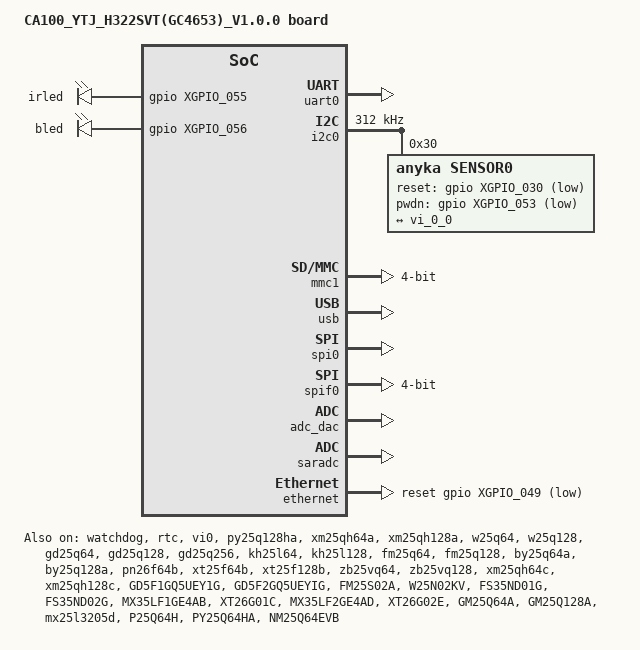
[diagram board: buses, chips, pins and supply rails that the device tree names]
/*
 * Anycloud3918av100 dev board dts
 *
 * Copyright (C) 2020 Anyka(Guangzhou) Microelectronics Technology Co., Ltd.
 *
 * This program is free software; you can redistribute it and/or modify
 * it under the terms of the GNU General Public License as published by
 * the Free Software Foundation; either version 2 of the License, or
 * (at your option) any later version.
 *
 * This program is distributed in the hope that it will be useful,
 * but WITHOUT ANY WARRANTY; without even the implied warranty of
 * MERCHANTABILITY or FITNESS FOR A PARTICULAR PURPOSE.  See the
 * GNU General Public License for more details.
 */

/dts-v1/;
#include "anycloud_ak3918av100np.dtsi"
#include "anycloud_norflash.dtsi"
#include "anycloud_nandflash.dtsi"

/ {
    compatible = "anyka,ak3918av100";
    model = "CA100_YTJ_H322SVT(GC4653)_V1.0.0 board";
    version = "V1.0.00";
};

&gpio {
    /*
    * "anyka,function": func index, please refer to dt-bindings/pinctrl/ak3918av100_pinctrl.h
    * "anyka,pull": configuration of the pins
    * bit[7:0]: pull up/down configuration
    *     bit[0]: pull up or pull down selection, 1 means select pull down, 0 means select pull up
    *     bit[4]: pull up or pull down enable, 1 means enable pull up&down function, 0 means disable fuction
    * !!! Notice that not all pin support pull up and pull down. Please refer to the programer's guide.
    * bit[11:8]: driver strength configuration.
    *     bit[9:8] drive strength.
    * bit[12:15] gpio direction
    *     bit[12]: direction. 0 is output, 1 is input
    *     bit[15]: enable direction. 1 is enable
    * bit[19:16]: input enable configuration
    *     bit[16]: 1 means enable input, 0 means disable input.
    * bit[20-23]: gpio output level
    *     bit[20]: 0 is low level, 1 is high level
    *     bit[23]: enable gpio output level. 1 is enable
    * bit[31:24]: pin slew rate configuration
    *     bit[24]: 1 means enable slew rate, 0 means disable slew rate.
    * !!! Notice OTHER bits which not mentioned please set to 0.
    */

    dvp0_12bits_pins: dvp0_12bits_pins {
        anyka,pins = <XGPIO_022
                         XGPIO_100
                         XGPIO_009
                         XGPIO_010
                         XGPIO_075
                         XGPIO_073
                         XGPIO_074
                         XGPIO_020
                         XGPIO_072
                         XGPIO_079
                         XGPIO_078
                         XGPIO_099
                         XGPIO_102
                         XGPIO_101
                         XGPIO_103
                         XGPIO_104>;
        anyka,function = <XGPIO_022_FUNC_CSI0_SCLK
                            XGPIO_100_FUNC_CSI_CLK
                            XGPIO_009_FUNC_CSI_HSYNC
                            XGPIO_010_FUNC_CSI_VSYNC
                            XGPIO_075_FUNC_CSI_D0
                            XGPIO_073_FUNC_CSI_D1
                            XGPIO_074_FUNC_CSI_D2
                            XGPIO_020_FUNC_CSI_D3
                            XGPIO_072_FUNC_CSI_D4
                            XGPIO_079_FUNC_CSI_D5
                            XGPIO_078_FUNC_CSI_D6
                            XGPIO_099_FUNC_CSI_D7
                            XGPIO_102_FUNC_CSI_D8
                            XGPIO_101_FUNC_CSI_D9
                            XGPIO_103_FUNC_CSI_D10
                            XGPIO_104_FUNC_CSI_D11>;
        anyka,pull = <0x01010010>;
    };

    dvp0_10bits_pins: dvp0_10bits_pins {
        anyka,pins = <XGPIO_100		//pclk
                         XGPIO_009	//hsync
                         XGPIO_010	//vsync
                         XGPIO_074	//d2
                         XGPIO_020	//d3
                         XGPIO_072	//d4
                         XGPIO_079	//d5
                         XGPIO_078	//d6
                         XGPIO_099	//d7
                         XGPIO_102	//d8
                         XGPIO_101	//d9
                         XGPIO_103	//d10
                         XGPIO_104>;//d11
        anyka,function = <XGPIO_100_FUNC_CSI_CLK
                            XGPIO_009_FUNC_CSI_HSYNC
                            XGPIO_010_FUNC_CSI_VSYNC
                            XGPIO_074_FUNC_CSI_D2
                            XGPIO_020_FUNC_CSI_D3
                            XGPIO_072_FUNC_CSI_D4
                            XGPIO_079_FUNC_CSI_D5
                            XGPIO_078_FUNC_CSI_D6
                            XGPIO_099_FUNC_CSI_D7
                            XGPIO_102_FUNC_CSI_D8
                            XGPIO_101_FUNC_CSI_D9
                            XGPIO_103_FUNC_CSI_D10
                            XGPIO_104_FUNC_CSI_D11>;
        anyka,pull = <0x01010010>;
    };

    dvp0_8bits_pins: dvp0_8bits_pins {
        anyka,pins = <XGPIO_022
                         XGPIO_100
                         XGPIO_009
                         XGPIO_010
                         XGPIO_075
                         XGPIO_073
                         XGPIO_074
                         XGPIO_020
                         XGPIO_072
                         XGPIO_079
                         XGPIO_078
                         XGPIO_099>;
        anyka,function = <XGPIO_022_FUNC_CSI0_SCLK
                            XGPIO_100_FUNC_CSI_CLK
                            XGPIO_009_FUNC_CSI_HSYNC
                            XGPIO_010_FUNC_CSI_VSYNC
                            XGPIO_075_FUNC_CSI_D0
                            XGPIO_073_FUNC_CSI_D1
                            XGPIO_074_FUNC_CSI_D2
                            XGPIO_020_FUNC_CSI_D3
                            XGPIO_072_FUNC_CSI_D4
                            XGPIO_079_FUNC_CSI_D5
                            XGPIO_078_FUNC_CSI_D6
                            XGPIO_099_FUNC_CSI_D7>;
        anyka,pull = <0x01010010>;
    };

    mipi0_3lane_pins: mipi0_3lane_pins {
        anyka,pins = <XGPIO_099
                        XGPIO_100
                        XGPIO_078
                        XGPIO_079
                        XGPIO_101
                        XGPIO_102>;
        anyka,function = <XGPIO_099_FUNC_MIPI_RX_L0P
                            XGPIO_100_FUNC_MIPI_RX_L0N
                            XGPIO_078_FUNC_MIPI_RX_L1P
                            XGPIO_079_FUNC_MIPI_RX_L1N
                            XGPIO_101_FUNC_MIPI_RX_L2P
                            XGPIO_102_FUNC_MIPI_RX_L2N>;
        anyka,pull = <0x01010010>;
    };

    csi0_sclk_pin: csi0_sclk_pin {
        anyka,pins = <XGPIO_022>;
        anyka,function = <XGPIO_022_FUNC_CSI0_SCLK>;
        anyka,pull = <0x01010010>;
    };

    mipi1_3lane_pins: mipi1_3lane_pins {
        anyka,pins = <XGPIO_103
                        XGPIO_104
                        XGPIO_072
                        XGPIO_073
                        XGPIO_074
                        XGPIO_075>;
        anyka,function = <XGPIO_103_FUNC_MIPI_RX_L3P
                            XGPIO_104_FUNC_MIPI_RX_L3N
                            XGPIO_072_FUNC_MIPI_RX_L4P
                            XGPIO_073_FUNC_MIPI_RX_L4N
                            XGPIO_074_FUNC_MIPI_RX_L5P
                            XGPIO_075_FUNC_MIPI_RX_L5N>;
        anyka,pull = <0x01010010>;
    };

    csi1_sclk_pin: csi1_sclk_pin {
        anyka,pins = <XGPIO_030>;
        anyka,function = <XGPIO_030_FUNC_CSI1_SCLK>;
        anyka,pull = <0x01010010>;
    };

    i2c0_pins: i2c0_pins {
        anyka,pins = <XGPIO_020 XGPIO_021>;
        anyka,function = <XGPIO_020_FUNC_TWI0_SDA XGPIO_021_FUNC_TWI0_SCL>;
        anyka,pull = <0x1010010>;
    };

    mci1_pins: mci1_pins {
        anyka,pins = <XGPIO_036
                        XGPIO_035
                        XGPIO_034
                        XGPIO_033
                        XGPIO_032
                        XGPIO_031>;
        anyka,function = <XGPIO_036_FUNC_SDIO0_DATA1
                            XGPIO_035_FUNC_SDIO0_DATA0
                            XGPIO_034_FUNC_SDIO0_MCLK
                            XGPIO_033_FUNC_SDIO0_CMD
                            XGPIO_032_FUNC_SDIO0_DATA3
                            XGPIO_031_FUNC_SDIO0_DATA2>;
        anyka,pull = <0x1010010>;
    };

    /* 
     *  When using DATA3 as plugin and plugoff detect:
     *  1. Set XGPIO_032_FUNC_SDIO0_DATA3 pull up disable and pull down disable
     *  2. Using PULLDOWN RESISTANCE on PCB, for example, 510   KΩ.
    */      
    mci1_pins_d3_detect_mode: mci1_pins_d3_detect_mode {
        anyka,pins = <XGPIO_036
                        XGPIO_035
                        XGPIO_034
                        XGPIO_033
                        XGPIO_032
                        XGPIO_031>;
        anyka,function = <XGPIO_036_FUNC_SDIO0_DATA1
                            XGPIO_035_FUNC_SDIO0_DATA0
                            XGPIO_034_FUNC_SDIO0_MCLK
                            XGPIO_033_FUNC_SDIO0_CMD
                            XGPIO_032_FUNC_SDIO0_DATA3
                            XGPIO_031_FUNC_SDIO0_DATA2>;
        anyka,pull = <  0x1010010 
                        0x1010010
                        0x1010010
                        0x1010010
                        0x1010001  /* disable pull down and pull up */
                        0x1010010 >;
    };

    mci1_idle_pins: mci1_idle_pins {
        anyka,pins = <XGPIO_036
                        XGPIO_035
                        XGPIO_034
                        XGPIO_033
                        XGPIO_032
                        XGPIO_031>;
        anyka,function = <XGPIO_036_FUNC_GPIO36
                            XGPIO_035_FUNC_GPIO35
                            XGPIO_034_FUNC_GPIO34
                            XGPIO_033_FUNC_GPIO33
                            XGPIO_032_FUNC_GPIO32
                            XGPIO_031_FUNC_GPIO31>;
        anyka,pull = <0x0>;
    };

    tf_det_pins: tf_det_pins {
        anyka,pins = <XGPIO_064>;
        anyka,function = <XGPIO_064_FUNC_GPIO64>;
        anyka,pull = <0x1010010>;
    };

    tf_en_pins: tf_en_pins {
        anyka,pins = <XGPIO_048>;
        anyka,function = <XGPIO_048_FUNC_GPIO48>;
        anyka,pull = <0x1010010>;
    };

    speaker_en_pins: speaker_en_pins {
        anyka,pins = <XGPIO_037>;
        anyka,function = <XGPIO_037_FUNC_GPIO37>;
		anyka,pull = <0x00808000>;
    };

	irled_pins: irled_pins {
        anyka,pins = <XGPIO_055>;
        anyka,function = <XGPIO_055_FUNC_GPIO55>;
        anyka,pull = <0x1000010>;
    };

    bled_pin: bled_pin {
        anyka,pins = <XGPIO_056>;
        anyka,function = <XGPIO_056_FUNC_GPIO56>;
        anyka,pull = <0x1000010>;
    };

	gpiokey_pins:gpiokey_pins {
		anyka,pins = <XGPIO_098>;
		anyka,function = <XGPIO_098_FUNC_GPIO98>;
		anyka,pull = <0x00010000>;
	};

	irfeed_pins: irfeed_pins {
        anyka,pins = <XGPIO_071>;
        anyka,function = <XGPIO_071_FUNC_AIN0>;
        anyka,pull = <0x0000000>;	/* must disable input */
    };

	motor0_pins: motor0_pins {
        anyka,pins = <XGPIO_041 XGPIO_040 XGPIO_039 XGPIO_038>;
        anyka,function = <XGPIO_041_FUNC_GPIO41
							XGPIO_040_FUNC_GPIO40
							XGPIO_039_FUNC_GPIO39
							XGPIO_038_FUNC_GPIO38>;
        anyka,pull = <0x00808000>;
    };

    motor1_pins: motor1_pins {
        anyka,pins = <XGPIO_060 XGPIO_061 XGPIO_062 XGPIO_063>;
        anyka,function = <XGPIO_060_FUNC_GPIO60
							XGPIO_061_FUNC_GPIO61
							XGPIO_062_FUNC_GPIO62
							XGPIO_063_FUNC_GPIO63>;
        anyka,pull = <0x00808000>;
    };
};

&uart0 {
    pinctrl-names = "default";
    pinctrl-0 = <&uart0_pins>;
    status = "okay";
};

&watchdog {
    status = "okay";
};

&rtc {
    /*
     * rtc osc_source_select, 1 means INTERNAL RC OSC, 0 means EXTERNAL XTAL
     * if internal RC OSC is used to generate 32KH,time adjustment should be setting.(basic unit: ms)
     */
    osc-select = <1>;
    status = "okay";
};

&vi0 {
    pinctrl-names = "dvp0_12bits", "dvp0_10bits", "dvp0_8bits",
	/*
        "mipi0_4lane", "mipi0_3lane",
        "mipi0_2lane", "mipi0_1lane",
        "mipi1_2lane", "mipi1_1lane",
		*/
        "csi0_sclk", "csi1_sclk";
    pinctrl-0 = <&dvp0_12bits_pins>;
    pinctrl-1 = <&dvp0_10bits_pins>;
    pinctrl-2 = <&dvp0_8bits_pins>;
    pinctrl-3 = <&csi0_sclk_pin>;
    pinctrl-4 = <&csi1_sclk_pin>;
	/*
    pinctrl-3 = <&mipi0_4lane_pins>;
    pinctrl-4 = <&mipi0_3lane_pins>;
    pinctrl-5 = <&mipi0_2lane_pins>;
    pinctrl-6 = <&mipi0_1lane_pins>;
    pinctrl-7 = <&mipi1_2lane_pins>;
    pinctrl-8 = <&mipi1_1lane_pins>;
    pinctrl-9 = <&csi0_sclk_pin>;
    pinctrl-10 = <&csi1_sclk_pin>;
	*/
    status = "okay";

    csi_mipi_lane_swap = <
		SENSOR_C0	//L0
		SENSOR_D0	//L1
		SENSOR_D1	//L2
		SENSOR_D2	//L3
		SENSOR_D3	//L4
		SENSOR_C1	//L5
		>;//MIPI_RX_L0~5.
	csi_mipi_dndp_swap = <
		MIPI_DNDP_NOSWAP	//L0
		MIPI_DNDP_NOSWAP	//L1
		MIPI_DNDP_NOSWAP	//L2
		MIPI_DNDP_NOSWAP	//L3
		MIPI_DNDP_NOSWAP	//L4
		MIPI_DNDP_NOSWAP	//L5
	>;//MIPI_RX_L0~5. 0: noswap; others: swap

	port@0 {
		#address-cells = <1>;
		#size-cells = <0>;

		vi_0_0: endpoint@0 {
			reg = <0>;
			remote-endpoint = <&sensor0_0>;
		};
	};
};

&i2c0 {
    pinctrl-names = "default";
    pinctrl-0 = <&i2c0_pins>;
    
    clock-frequency = <312000>;
    status = "okay";
	#address-cells = <1>;
	#size-cells = <0>;
    
	sensor0: camera@0x30{
		compatible = "anyka,sensor0";
		reg = <0x30>;

		/*0xffff means the gpio is invalid*/
		reset-gpio = <&gpio XGPIO_030 1>;
		pwdn-gpio = <&gpio XGPIO_053 1>;

		port {
			sensor0_0: endpoint@0 {
				remote-endpoint = <&vi_0_0>;
			};
		};
	};
};

/* mmc1 card detect using detect-gpio or detect-gpios */
&mmc1 {
    bus-width = <0x4>;
    max-frequency = <50000000>;
    detect-gpio = <&gpio XGPIO_064 1>;
    cap-sd-highspeed;
    pinctrl-names = "default","idle";
    pinctrl-0 = <&mci1_pins>,<&tf_en_pins>,<&tf_det_pins>;
    pinctrl-1 = <&mci1_idle_pins>;
    power-pins = <&gpio XGPIO_048 1>;
	power-inverted;
    status = "okay"; 
};

&usb {
    status = "okay";
};

&spi0 {
    pinctrl-names = "default";
    pinctrl-0 = <&spiflash_pins>;
    spi-bus-frequency = <66000000>;
    /*
     * cap-spi-highspeed;
     * if defined, means high speed controller(Maximum 100M/s);
     * if not, means normal speed controller(below 50M/s)
     */
    cap-spi-highspeed;
    status = "okay";
};

&spif0 {
    /* spi flash data bus width:
    ** 1 means 1 wire mode.
    ** 2 means 2 wire mode
    ** 4 means 4 wire mode.
    ** default: 4 wire mode.
    **/
    bus-width = <4>;
    status = "okay";
};

&py25q128ha{
    status = "okay";
};

&xm25qh64a{
    status = "okay";
};

&xm25qh128a{
    status = "okay";
};

&w25q64{
    status = "okay";
};

&w25q128{
    status = "okay";
};

&gd25q64{
    status = "okay";
};

&gd25q128{
    status = "okay";
};

&gd25q256{
    status = "okay";
};

&kh25l64{
    status = "okay";
};

&kh25l128{
    status = "okay";
};

&fm25q64{
    status = "okay";
};

&fm25q128{
    status = "okay";
};

&by25q64a{
    status = "okay";
};

&by25q128a{
    status = "okay";
};

&pn26f64b{
    status = "okay";
};

&xt25f64b{
    status = "okay";
};

&xt25f128b{
    status = "okay";
};

&zb25vq64{
    status = "okay";
};

&zb25vq128{
    status = "okay";
};

&xm25qh64c{
    status = "okay";
};

&xm25qh128c{
    status = "okay";
};

&GD5F1GQ5UEY1G{
    status = "okay";
};

&GD5F2GQ5UEYIG{
    status = "okay";
};

&FM25S02A{
    status = "okay";
};

&W25N02KV{
    status = "okay";
};

&FS35ND01G{
    status = "okay";
};

&FS35ND02G{
    status = "okay";
};

&MX35LF1GE4AB{
    status = "okay";
};

&XT26G01C{
    status = "okay";
};

&MX35LF2GE4AD{
    status = "okay";
};

&XT26G02E{
    status = "okay";
};

&GM25Q64A{
    status = "okay";
};

&GM25Q128A{
    status = "okay";
};

&mx25l3205d{
    status = "okay";
};

&P25Q64H{
    status = "okay";
};

&PY25Q64HA{
  status = "okay";
};

&NM25Q64EVB{
    status = "okay";
};

&NM25Q128EVB{
    status = "okay";
};

&ME25L64E{
    status = "okay";
};

&ME25L128C{
    status = "okay";
};

&XM25QH256C{
    status = "okay";
};

&UC25IQ128A{
  status = "okay";
};

&BW25Q64A{
    status = "okay";
};

&UC25IQ64A{
    status = "okay";
};

&TH25Q64HA{
    status = "okay";
};

&TH25Q128HA{
    status = "okay";
};

&BW25Q128A{
    status = "okay";
};

&adc_dac {
    pinctrl-names = "default";
    pinctrl-0 = <&speaker_en_pins>;
    speak-gpios = <&gpio XGPIO_037 1>;
	pd-hpvcm = <1>;
    /*
    * The level of speak-gpios votage for power on audio: 0=low, 1=high
    */
    speak-gpios-en = <1>;
    status = "okay";

    dev0 {
        snd-dev = <SND_CARD_DAC_PLAYBACK>;
        snd-type = <AK_PCM_DEV_PLAYBACK>;
    };

    dev1 {
        snd-dev = <SND_CARD_ADC_CAPTURE>;
        snd-type = <AK_PCM_DEV_CAPTURE>;
    };

    dev2 {
        snd-dev = <SND_CARD_DAC_LOOPBACK>;
        snd-type = <AK_PCM_DEV_LOOPBACK>;
    };
};

&venc {
    status = "okay";
};

&venc_bridge{
     status = "okay";
};

&cnn{
    status = "okay";
};

&encrypt{
    status = "okay"; 
};

&motor0 {
	/*
	 * part-number: part name
	 * pwm-tbl-cw: pwm table int clkwise
	 * pwm-pins: gpio list to motor
	 * steps-one-circle: total steps one circle (360degree)
	 *
	 * total-steps:	total steps the motor can run
	 * boundary-steps: reserve some step for each boudary
	 * attach-timer: timer for the motor
	 *					NOTE: different motor attach different timer
	 *
	 * speed-step: speed in step
	 */

	pinctrl-names = "default";
	pinctrl-0 = <&motor0_pins>;

	part-number = "HZF-24BYJ48";
	pwm-tbl-cw = <0x09 0x01 0x03 0x02 0x06 0x04 0x0c 0x08>;
	pwm-pins = <XGPIO_041 XGPIO_040 XGPIO_039 XGPIO_038>;
	steps-one-circle = <4096>;
	total-steps = <2500>;
	boundary-steps = <50>;
	attach-timer = <5>;

	speed-step = <200>;

	status = "okay";
};

&motor1 {
	/*
	 * part-number: part name
	 * pwm-tbl-cw: pwm table int clkwise
	 * pwm-pins: gpio list to motor
	 * steps-one-circle: total steps one circle (360degree)
	 *
	 * total-steps:	total steps the motor can run
	 * boundary-steps: reserve some step for each boudary
	 * attach-timer: timer for the motor
	 *					NOTE: different motor attach different timer
	 *
	 * speed-step: speed in step
	 */

	pinctrl-names = "default";
	pinctrl-0 = <&motor1_pins>;

	part-number = "HZF-24BYJ48";
	pwm-tbl-cw = <0x09 0x01 0x03 0x02 0x06 0x04 0x0c 0x08>;
	pwm-pins = <XGPIO_060 XGPIO_061 XGPIO_062 XGPIO_063>;
	steps-one-circle = <4096>;

	total-steps = <600>;
	boundary-steps = <50>;
	attach-timer = <3>;

	speed-step = <200>;

	status = "okay";
};

&leds {
    pinctrl-names = "default";
    pinctrl-0 = <&irled_pins>,<&bled_pin>;
    status = "okay";

    irled {
        label = "irled";
        gpios = <&gpio XGPIO_055 GPIO_ACTIVE_HIGH>;
    };

    bled {
        label = "bled";
        gpios = <&gpio XGPIO_056 GPIO_ACTIVE_HIGH>;
    };
};

&gpiokeys {
	#address-cells = <1>;
	#size-cells = <0>;
	pinctrl-0 = <&gpiokey_pins>;
	pinctrl-names = "default";
	status = "okay";

	reset {
        label = "reset_key";
        gpios = <&gpio XGPIO_098 GPIO_ACTIVE_HIGH>;
        linux,code = <116>;
        debounce-interval = <100>;
	};
};

&saradc{
    pinctrl-names = "default";
    pinctrl-0 = <&irfeed_pins>;

    /* SAR ADC VREF selection
    * 0:To select AVCC 3.3V as VREF for SAR ADC.
    * 1:To select 3.0V generated from BGR as VREF for SAR ADC.
    */
    vref-select = <0>;
    /*
    * 0:To disable BAT voltage divider.
    * 1:To enable BAT voltage divider divided by 2.
    */
    battery-divider = <1>;
    /*
    * Sampling number
    * Read the sampling data for N times and then calculate the average value.
    * N ranges from 1 to 7.
    */
    sampling-num = <3>;
    status = "okay";
};

&ethernet {
    pinctrl-names = "default", "c_chip";
    pinctrl-0 = <&ethernet_rmii_pins &ethernet_rst_pins>;
    pinctrl-1 = <&ethernet_rmii_pins_c_chip &ethernet_rst_pins>;
    reset-gpios = <&gpio XGPIO_049 1>;
	phy-address = <1>;
    status = "okay";
};
